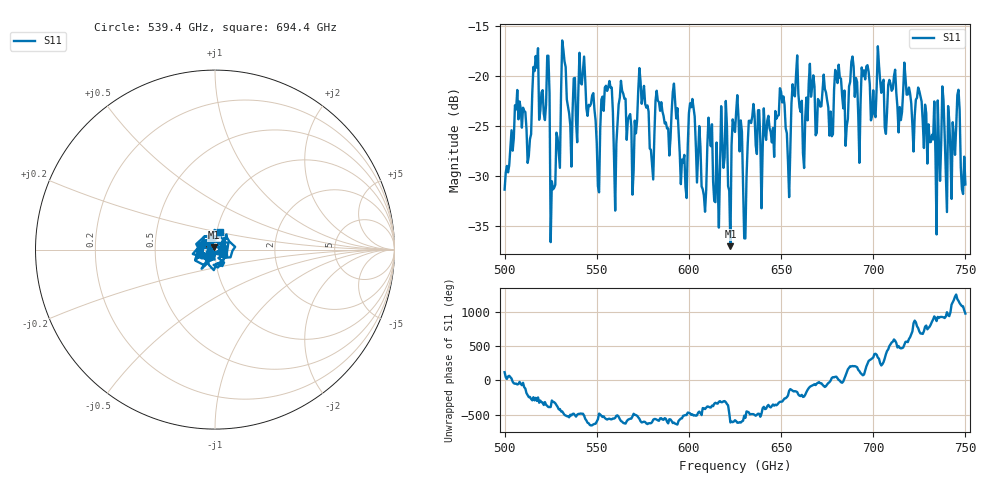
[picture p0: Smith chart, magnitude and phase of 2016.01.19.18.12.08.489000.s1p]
!Created with skrf (http://scikit-rf.org).
# GHz S RI R 50.0
!freq ReS11 ImS11
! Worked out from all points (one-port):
!   401 points, 500 GHz to 750 GHz, reference 50 ohm
!   lowest |S11| = -37.1 dB at 622.5 GHz (marker M1), VSWR 1.03, Z = 49.5 + j1.31 ohm
!   |S11| at or under -10 dB: start of sweep to end of sweep
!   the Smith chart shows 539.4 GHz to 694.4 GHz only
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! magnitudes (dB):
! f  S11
! 500 GHz  -31.4
! 506.9 GHz  -21.4
! 513.1 GHz  -28.0
! 516.9 GHz  -18.0
! 523.1 GHz  -18.0
! 526.2 GHz  -31.4
! 531.2 GHz  -16.5
! 535.6 GHz  -24.9
! 541.9 GHz  -20.9
! 550.6 GHz  -31.1
! 555.6 GHz  -21.5
! 560 GHz  -33.5
! 562.5 GHz  -22.2
! 593.8 GHz  -23.3
! 608.1 GHz  -32.0
! 611.2 GHz  -25.8
! 622.5 GHz  -37.1
! 625 GHz  -25.6
! 630.6 GHz  -36.3
! 633.8 GHz  -24.8
! 650.6 GHz  -22.7
! 653.8 GHz  -28.6
! 656.2 GHz  -20.9
! 687.5 GHz  -20.6
! 718.8 GHz  -21.9
! 735 GHz  -22.5
! 745.6 GHz  -22.0
! 750 GHz  -30.9
